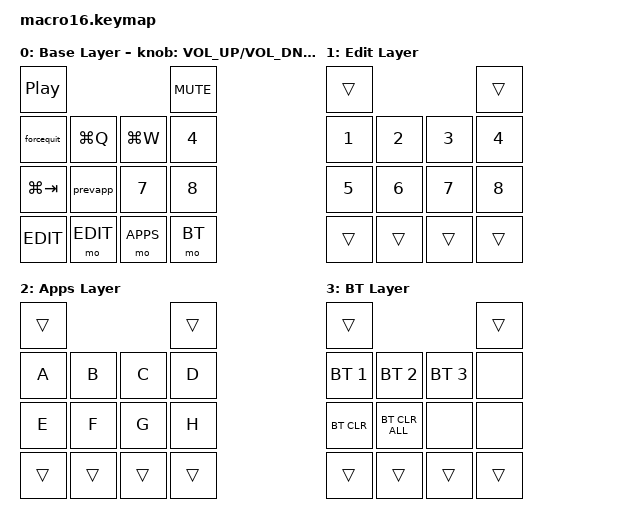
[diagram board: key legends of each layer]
/*
 * Copyright (c) 2022 The ZMK Contributors
 *
 * SPDX-License-Identifier: MIT
 */

#include <behaviors.dtsi>
#include <dt-bindings/zmk/keys.h>
#include <dt-bindings/zmk/bt.h>

#define BASE   0
#define EDIT   1
#define APPS   2
#define BT     3


/ {
    macros {
        forcequit: forcequit {
            compatible = "zmk,behavior-macro";
            #binding-cells = <0>;
            bindings =
                <&macro_press &kp LGUI> ,
                <&macro_press &kp LALT> ,
                <&macro_tap &kp ESC> ,
                <&macro_release &kp LGUI> ,
                <&macro_release &kp LALT> ;
        };

        prevapp: prevapp {
            compatible = "zmk,behavior-macro";
            #binding-cells = <0>;
            bindings =
                <&macro_press &kp LGUI> ,
                <&macro_press &kp LSHIFT> ,
                <&macro_tap &kp TAB> ,
                <&macro_release &kp LGUI> ,
                <&macro_release &kp LSHIFT> ;
        };
    };

    keymap {
        compatible = "zmk,keymap";

        BASE {
            display-name = "Base Layer";
            bindings = <
                &kp C_PLAY_PAUSE                                        &kp K_MUTE
                &forcequit          &kp LG(Q)           &kp LG(W)       &kp N4      
                &kp LG(TAB)         &prevapp            &kp N7          &kp N8 
                &kp LG(SPACE)       &kp LG(COMMA)       &kp A           &kp B
                &kp EDIT            &mo EDIT            &mo APPS        &mo BT
            >;
            sensor-bindings = <&inc_dec_kp K_VOL_UP K_VOL_DN &inc_dec_kp C_NEXT C_PREV>;
        };

        EDIT { 
            display-name = "Edit Layer";
            bindings = <
                &trans                                          &trans
                &kp N1          &kp N2          &kp N3          &kp N4
                &kp N5          &kp N6          &kp N7          &kp N8
                &kp N9          &kp N0          &kp N1          &kp N2
                &trans          &trans          &trans          &trans
            >;
        };

        APPS {
            display-name = "Apps Layer";
            bindings = <
                &trans                                          &trans
                &kp A           &kp B           &kp C           &kp D 
                &kp E           &kp F           &kp G           &kp H
                &kp I           &kp J           &kp K           &kp L
                &trans          &trans          &trans          &trans
            >;
        };

        BT {
            display-name = "BT Layer";
            bindings = <
                &trans                                          &trans
                &bt BT_SEL 1    &bt BT_SEL 2    &bt BT_SEL 3    &none
                &bt BT_CLR      &bt BT_CLR_ALL  &none           &none
                &trans          &trans          &trans          &bootloader  
                &trans          &trans          &trans          &trans
            >;
        };
    };
};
